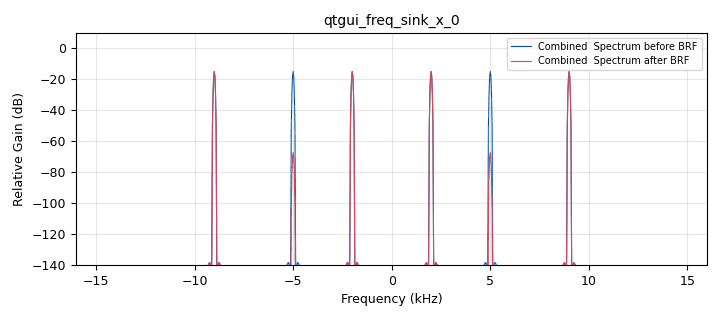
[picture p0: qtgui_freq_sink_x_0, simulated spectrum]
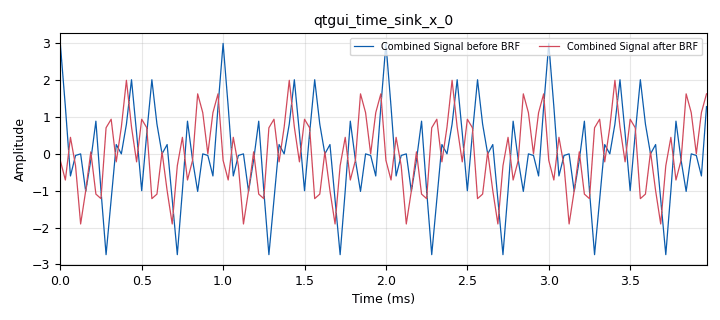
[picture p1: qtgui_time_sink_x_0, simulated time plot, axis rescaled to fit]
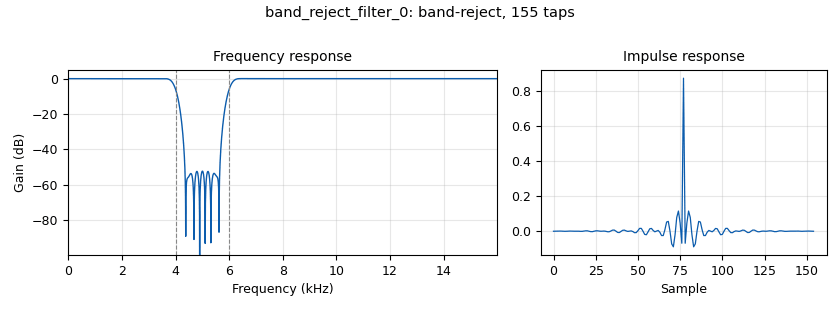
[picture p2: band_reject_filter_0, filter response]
options:
  parameters:
    author: Dhrubjun
    generate_options: qt_gui
    id: exp5
    output_language: python
    title: Band-Reject Filtering
  states: {}

blocks:
- name: samp_rate
  id: variable
  parameters:
    value: '32000'
  states: {}
- name: analog_sig_source_x_0
  id: analog_sig_source_x
  parameters:
    amp: '1'
    freq: '2000'
    offset: '0'
    phase: '0'
    samp_rate: samp_rate
    type: float
    waveform: analog.GR_COS_WAVE
  states: {}
- name: analog_sig_source_x_0_0
  id: analog_sig_source_x
  parameters:
    amp: '1'
    freq: '5000'
    offset: '0'
    phase: '0'
    samp_rate: samp_rate
    type: float
    waveform: analog.GR_COS_WAVE
  states: {}
- name: analog_sig_source_x_0_1
  id: analog_sig_source_x
  parameters:
    amp: '1'
    freq: '9000'
    offset: '0'
    phase: '0'
    samp_rate: samp_rate
    type: float
    waveform: analog.GR_COS_WAVE
  states: {}
- name: band_reject_filter_0
  id: band_reject_filter
  parameters:
    decim: '1'
    gain: '1'
    high_cutoff_freq: '6000'
    low_cutoff_freq: '4000'
    samp_rate: samp_rate
    type: fir_filter_fff
    width: '500'
    win: window.WIN_HAMMING
  states: {}
- name: blocks_add_xx_0
  id: blocks_add_xx
  parameters:
    num_inputs: '3'
    type: float
  states: {}
- name: blocks_throttle2_0
  id: blocks_throttle2
  parameters:
    samples_per_second: samp_rate
    type: float
  states: {}
- name: qtgui_freq_sink_x_0
  id: qtgui_freq_sink_x
  parameters:
    bw: samp_rate
    fc: '0'
    fftsize: '1024'
    grid: 'True'
    label1: Combined  Spectrum before BRF
    label2: Combined  Spectrum after BRF
    nconnections: '2'
    type: float
  states: {}
- name: qtgui_time_sink_x_0
  id: qtgui_time_sink_x
  parameters:
    grid: 'True'
    label1: Combined Signal before BRF
    label2: Combined Signal after BRF
    nconnections: '2'
    size: '128'
    srate: samp_rate
    type: float
  states: {}

connections:
- [analog_sig_source_x_0, '0', blocks_add_xx_0, '0']
- [analog_sig_source_x_0_0, '0', blocks_add_xx_0, '1']
- [analog_sig_source_x_0_1, '0', blocks_add_xx_0, '2']
- [band_reject_filter_0, '0', qtgui_freq_sink_x_0, '1']
- [band_reject_filter_0, '0', qtgui_time_sink_x_0, '1']
- [blocks_add_xx_0, '0', blocks_throttle2_0, '0']
- [blocks_throttle2_0, '0', band_reject_filter_0, '0']
- [blocks_throttle2_0, '0', qtgui_freq_sink_x_0, '0']
- [blocks_throttle2_0, '0', qtgui_time_sink_x_0, '0']

metadata:
  file_format: 1
  grc_version: 3.10.12.0
